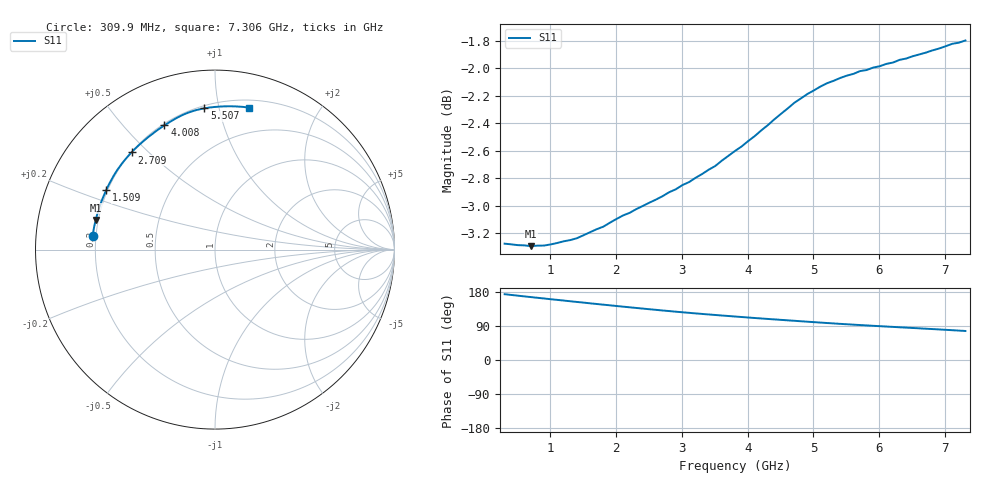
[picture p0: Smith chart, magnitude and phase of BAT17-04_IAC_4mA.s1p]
! Infineon Technologies  Discrete & RF Semiconductors
! BAT17-04
! IAC = 4 mA
! One-Port S-Parameters
# Hz  S  MA  R  50
!f  S11
!Hz  Mag  Ang
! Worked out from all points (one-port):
!   71 points, 309.9 MHz to 7.306 GHz, reference 50 ohm
!   lowest |S11| = -3.3 dB at 709.6 MHz (marker M1), VSWR 5.34, Z = 9.5 + j5.91 ohm
!   |S11| at or under -10 dB: nowhere
!   S11 on the Smith chart (normalised r, x): 309.9 MHz: 0.19, +0.05; 1.509 GHz: 0.19, +0.25; 2.709 GHz: 0.20, +0.44; 4.008 GHz: 0.21, +0.65; 5.507 GHz: 0.22, +0.90; 7.306 GHz: 0.26, +1.23
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3.0985e8  0.686 173.7
5.0975e8  0.6851 169.8
7.0965e8  0.6845 166.0
1.0095e9  0.6855 160.4
1.2094e9  0.6874 156.8
1.50925e9  0.6908 151.4
1.70915e9  0.6943 147.8
1.90905e9  0.6981 144.3
2.10895e9  0.7023 140.8
2.4088e9  0.7079 135.7
2.50875e9  0.7099 133.9
2.70865e9  0.7137 130.7
3.0085e9  0.7204 126.0
3.2084e9  0.7247 123.0
3.4083e9  0.7297 120.2
3.8081e9  0.7412 114.8
4.008e9  0.7474 112.1
4.4078e9  0.7611 107.1
4.70765e9  0.7716 103.5
4.90755e9  0.7773 101.1
5.10745e9  0.7823 98.7
5.50725e9  0.7894 94.3
5.6072e9  0.7905 93.2
6.10695e9  0.7972 88.3
6.50675e9  0.8023 84.5
6.8066e9  0.8062 81.7
7.10645e9  0.8106 78.7
7.30635e9  0.8129 76.6
